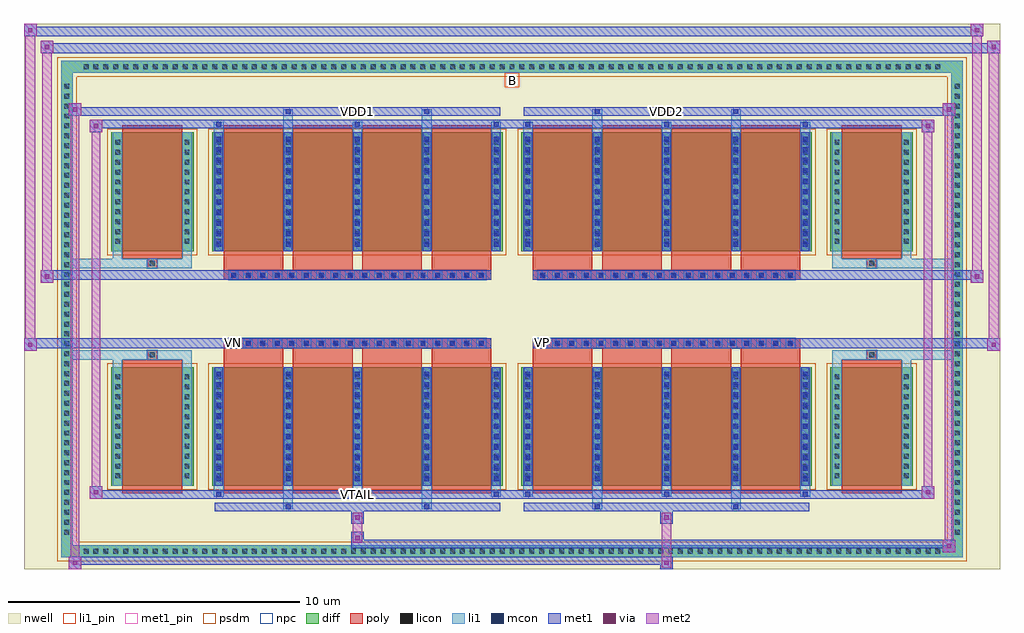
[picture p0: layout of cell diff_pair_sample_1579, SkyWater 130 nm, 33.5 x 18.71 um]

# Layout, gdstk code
import gdstk
lib = gdstk.Library(unit=1e-6, precision=5e-09)
def R(c, l, rs):  # rectangles x0, y0, x1, y1
    for r in rs: c.add(gdstk.rectangle(r[:2], r[2:], *l))
def A(c, l, x, y, w, h, nx, ny, dx, dy):  # array of equal rectangles
    R(c, l, [(x+i*dx, y+j*dy, x+i*dx+w, y+j*dy+h) for i in range(nx) for j in range(ny)])
def P(c, l, *ps):  # polygons
    for p in ps: c.add(gdstk.Polygon(p, *l))
nwell = (64, 20)
diff = (65, 20)
poly = (66, 20)
licon = (66, 44)
li1_pin = (67, 16)
li1 = (67, 20)
mcon = (67, 44)
met1_pin = (68, 16)
met1 = (68, 20)
via = (68, 44)
met2 = (69, 20)
psdm = (94, 20)
npc = (95, 20)

diff_pair_sample_1579 = lib.new_cell('diff_pair_sample_1579')
R(diff_pair_sample_1579, nwell, [(-16.75,-8.92,16.75,9.79), (-14.07,-7.11,-0.01,-0.805), (0.01,-7.11,14.07,-0.805), (-14.07,0.805,-0.01,7.11), (0.01,0.805,14.07,7.11)])
A(diff_pair_sample_1579, diff, -14.825, -8.52, 0.41, 0.41, 87, 2, 0.34, 16.63)
A(diff_pair_sample_1579, diff, -15.48, -7.855, 0.41, 0.41, 1, 46, 0, 0.34)
A(diff_pair_sample_1579, diff, 15.07, -7.855, 0.41, 0.41, 1, 46, 0, 0.34)
R(diff_pair_sample_1579, diff, [(-14.825,-8.52,14.825,-8.11), (-15.48,-7.855,-15.07,7.855), (15.07,-7.855,15.48,7.855), (-13.76,-6.065,-10.93,-1.985), (-10.29,-6.065,-0.32,-1.985), (0.32,-6.065,10.29,-1.985), (10.93,-6.065,13.76,-1.985), (-13.76,1.985,-10.93,6.065), (-10.29,1.985,-0.32,6.065), (0.32,1.985,10.29,6.065), (10.93,1.985,13.76,6.065), (-14.825,8.11,14.825,8.52)])
P(diff_pair_sample_1579, diff, [(15.48,8.52),(-15.48,8.52),(-15.48,-8.11),(-15.07,-8.11),(-15.07,8.11),(15.07,8.11),(15.07,-8.11),(-15.07,-8.11),(-15.48,-8.11),(-15.48,-8.52),(15.48,-8.52)])
A(diff_pair_sample_1579, poly, -9.9, -6.315, 2.05, 4.58, 4, 2, 2.38, 8.05)
A(diff_pair_sample_1579, poly, 0.71, -6.315, 2.05, 4.58, 4, 2, 2.38, 8.05)
A(diff_pair_sample_1579, poly, -9.9, -1.735, 2.05, 0.4, 4, 2, 2.38, 3.07)
A(diff_pair_sample_1579, poly, 0.71, -1.735, 2.05, 0.4, 4, 2, 2.38, 3.07)
A(diff_pair_sample_1579, poly, -9.72, -1.335, 0.33, 0.33, 18, 2, 0.5, 2.34)
A(diff_pair_sample_1579, poly, 0.89, -1.335, 0.33, 0.33, 18, 2, 0.5, 2.34)
R(diff_pair_sample_1579, poly, [(-13.37,-6.315,-11.32,-1.735), (11.32,-6.315,13.37,-1.735), (-12.51,-1.735,-12.18,-1.405), (-12.51,-1.735,-12.18,-1.405), (12.18,-1.735,12.51,-1.405), (12.18,-1.735,12.51,-1.405), (-9.9,-1.335,-0.71,-1.005), (0.71,-1.335,9.9,-1.005), (-9.9,1.005,-0.71,1.335), (0.71,1.005,9.9,1.335), (-12.51,1.405,-12.18,1.735), (-12.51,1.405,-12.18,1.735), (12.18,1.405,12.51,1.735), (12.18,1.405,12.51,1.735), (-13.37,1.735,-11.32,6.315), (11.32,1.735,13.37,6.315)])
A(diff_pair_sample_1579, licon, -14.705, -8.4, 0.17, 0.17, 87, 2, 0.34, 16.63)
A(diff_pair_sample_1579, licon, -15.36, -7.735, 0.17, 0.17, 1, 46, 0, 0.34)
A(diff_pair_sample_1579, licon, 15.19, -7.735, 0.17, 0.17, 1, 46, 0, 0.34)
A(diff_pair_sample_1579, licon, -13.62, -5.81, 0.17, 0.17, 1, 11, 0, 0.34)
A(diff_pair_sample_1579, licon, -11.24, -5.81, 0.17, 0.17, 1, 11, 0, 0.34)
A(diff_pair_sample_1579, licon, -10.15, -5.81, 0.17, 0.17, 5, 11, 2.38, 0.34)
A(diff_pair_sample_1579, licon, 0.46, -5.81, 0.17, 0.17, 5, 11, 2.38, 0.34)
A(diff_pair_sample_1579, licon, 11.07, -5.81, 0.17, 0.17, 1, 11, 0, 0.34)
A(diff_pair_sample_1579, licon, 13.45, -5.81, 0.17, 0.17, 1, 11, 0, 0.34)
A(diff_pair_sample_1579, licon, -9.64, -1.255, 0.17, 0.17, 18, 2, 0.5, 2.34)
A(diff_pair_sample_1579, licon, 0.97, -1.255, 0.17, 0.17, 18, 2, 0.5, 2.34)
A(diff_pair_sample_1579, licon, -13.62, 2.24, 0.17, 0.17, 1, 11, 0, 0.34)
A(diff_pair_sample_1579, licon, -11.24, 2.24, 0.17, 0.17, 1, 11, 0, 0.34)
A(diff_pair_sample_1579, licon, -10.15, 2.24, 0.17, 0.17, 5, 11, 2.38, 0.34)
A(diff_pair_sample_1579, licon, 0.46, 2.24, 0.17, 0.17, 5, 11, 2.38, 0.34)
A(diff_pair_sample_1579, licon, 11.07, 2.24, 0.17, 0.17, 1, 11, 0, 0.34)
A(diff_pair_sample_1579, licon, 13.45, 2.24, 0.17, 0.17, 1, 11, 0, 0.34)
R(diff_pair_sample_1579, licon, [(-12.43,-1.655,-12.26,-1.485), (12.26,-1.655,12.43,-1.485), (-12.43,1.485,-12.26,1.655), (12.26,1.485,12.43,1.655)])
R(diff_pair_sample_1579, li1_pin, [(-0.25,7.61,0.25,8.11)])
A(diff_pair_sample_1579, li1, -14.785, -8.48, 0.33, 0.33, 87, 2, 0.34, 16.63)
A(diff_pair_sample_1579, li1, -15.44, -7.815, 0.33, 0.33, 1, 46, 0, 0.34)
A(diff_pair_sample_1579, li1, 15.11, -7.815, 0.33, 0.33, 1, 46, 0, 0.34)
A(diff_pair_sample_1579, li1, -10.23, -6.44, 0.33, 0.375, 3, 2, 4.76, 12.505)
A(diff_pair_sample_1579, li1, -10.15, -6.44, 0.17, 0.17, 3, 2, 4.76, 12.71)
A(diff_pair_sample_1579, li1, 0.38, -6.44, 0.33, 0.375, 3, 2, 4.76, 12.505)
A(diff_pair_sample_1579, li1, 0.46, -6.44, 0.17, 0.17, 3, 2, 4.76, 12.71)
A(diff_pair_sample_1579, li1, -10.23, -6.065, 0.33, 4.08, 5, 2, 2.38, 8.05)
A(diff_pair_sample_1579, li1, 0.38, -6.065, 0.33, 4.08, 5, 2, 2.38, 8.05)
A(diff_pair_sample_1579, li1, -10.15, -5.91, 0.17, 0.17, 5, 11, 2.38, 0.36)
A(diff_pair_sample_1579, li1, -10.15, -5.91, 0.17, 3.77, 5, 2, 2.38, 8.05)
A(diff_pair_sample_1579, li1, 0.46, -5.91, 0.17, 0.17, 5, 11, 2.38, 0.36)
A(diff_pair_sample_1579, li1, 0.46, -5.91, 0.17, 3.77, 5, 2, 2.38, 8.05)
A(diff_pair_sample_1579, li1, -13.7, -5.89, 0.33, 0.33, 1, 11, 0, 0.34)
A(diff_pair_sample_1579, li1, -11.32, -5.89, 0.33, 0.33, 1, 11, 0, 0.34)
A(diff_pair_sample_1579, li1, -10.23, -5.89, 0.33, 0.33, 5, 11, 2.38, 0.34)
A(diff_pair_sample_1579, li1, 0.38, -5.89, 0.33, 0.33, 5, 11, 2.38, 0.34)
A(diff_pair_sample_1579, li1, 10.99, -5.89, 0.33, 0.33, 1, 11, 0, 0.34)
A(diff_pair_sample_1579, li1, 13.37, -5.89, 0.33, 0.33, 1, 11, 0, 0.34)
A(diff_pair_sample_1579, li1, -9.72, -1.335, 0.33, 0.33, 18, 2, 0.5, 2.34)
A(diff_pair_sample_1579, li1, 0.89, -1.335, 0.33, 0.33, 18, 2, 0.5, 2.34)
A(diff_pair_sample_1579, li1, -10.15, 2.14, 0.17, 0.17, 5, 11, 2.38, 0.36)
A(diff_pair_sample_1579, li1, 0.46, 2.14, 0.17, 0.17, 5, 11, 2.38, 0.36)
A(diff_pair_sample_1579, li1, -13.7, 2.16, 0.33, 0.33, 1, 11, 0, 0.34)
A(diff_pair_sample_1579, li1, -11.32, 2.16, 0.33, 0.33, 1, 11, 0, 0.34)
A(diff_pair_sample_1579, li1, -10.23, 2.16, 0.33, 0.33, 5, 11, 2.38, 0.34)
A(diff_pair_sample_1579, li1, 0.38, 2.16, 0.33, 0.33, 5, 11, 2.38, 0.34)
A(diff_pair_sample_1579, li1, 10.99, 2.16, 0.33, 0.33, 1, 11, 0, 0.34)
A(diff_pair_sample_1579, li1, 13.37, 2.16, 0.33, 0.33, 1, 11, 0, 0.34)
R(diff_pair_sample_1579, li1, [(-15.48,-8.52,-15.07,-8.11), (-15.48,-8.52,-15.07,-8.11), (-15.07,-8.52,15.07,-8.11), (15.07,-8.52,15.48,-8.11), (15.07,-8.52,15.48,-8.11), (-15.48,-8.11,-15.07,8.11), (15.07,-8.11,15.48,8.11), (-7.85,-6.87,-7.52,-6.065), (-7.77,-6.87,-7.6,-6.7), (-3.09,-6.87,-2.76,-6.065), (-3.01,-6.87,-2.84,-6.7), (2.76,-6.87,3.09,-6.065), (2.84,-6.87,3.01,-6.7), (7.52,-6.87,7.85,-6.065), (7.6,-6.87,7.77,-6.7), (-13.7,-6.065,-13.37,-1.985), (-11.32,-6.065,-10.99,-1.985), (10.99,-6.065,11.32,-1.985), (13.37,-6.065,13.7,-1.985), (-13.7,-1.985,-13.37,-1.405), (-11.32,-1.985,-10.99,-1.405), (10.99,-1.985,11.32,-1.405), (13.37,-1.985,13.7,-1.405), (-15.48,-1.735,-12.51,-1.405), (-13.7,-1.735,-12.51,-1.405), (-12.51,-1.735,-12.18,-1.405), (-12.18,-1.735,-10.99,-1.405), (10.99,-1.735,12.18,-1.405), (12.18,-1.735,12.51,-1.405), (12.18,-1.735,15.48,-1.405), (12.51,-1.735,13.7,-1.405), (-15.48,1.405,-12.51,1.735), (-13.7,1.405,-12.51,1.735), (-13.7,1.405,-13.37,1.985), (-12.51,1.405,-12.18,1.735), (-12.18,1.405,-10.99,1.735), (-11.32,1.405,-10.99,1.985), (10.99,1.405,12.18,1.735), (10.99,1.405,11.32,1.985), (12.18,1.405,12.51,1.735), (12.18,1.405,15.48,1.735), (12.51,1.405,13.7,1.735), (13.37,1.405,13.7,1.985), (-13.7,1.985,-13.37,6.065), (-11.32,1.985,-10.99,6.065), (10.99,1.985,11.32,6.065), (13.37,1.985,13.7,6.065), (-7.85,6.065,-7.52,6.87), (-3.09,6.065,-2.76,6.87), (2.76,6.065,3.09,6.87), (7.52,6.065,7.85,6.87), (-7.77,6.7,-7.6,6.87), (-3.01,6.7,-2.84,6.87), (2.84,6.7,3.01,6.87), (7.6,6.7,7.77,6.87), (-15.48,8.11,-15.07,8.52), (-15.48,8.11,-15.07,8.52), (-15.07,8.11,15.07,8.52), (15.07,8.11,15.48,8.52), (15.07,8.11,15.48,8.52)])
A(diff_pair_sample_1579, mcon, -10.15, -6.44, 0.17, 0.17, 3, 2, 4.76, 12.71)
A(diff_pair_sample_1579, mcon, 0.46, -6.44, 0.17, 0.17, 3, 2, 4.76, 12.71)
A(diff_pair_sample_1579, mcon, -10.15, -5.91, 0.17, 0.17, 5, 11, 2.38, 0.36)
A(diff_pair_sample_1579, mcon, 0.46, -5.91, 0.17, 0.17, 5, 11, 2.38, 0.36)
A(diff_pair_sample_1579, mcon, -9.64, -1.255, 0.17, 0.17, 18, 2, 0.5, 2.34)
A(diff_pair_sample_1579, mcon, 0.97, -1.255, 0.17, 0.17, 18, 2, 0.5, 2.34)
A(diff_pair_sample_1579, mcon, -10.15, 2.14, 0.17, 0.17, 5, 11, 2.38, 0.36)
A(diff_pair_sample_1579, mcon, 0.46, 2.14, 0.17, 0.17, 5, 11, 2.38, 0.36)
R(diff_pair_sample_1579, mcon, [(-7.77,-6.87,-7.6,-6.7), (-3.01,-6.87,-2.84,-6.7), (2.84,-6.87,3.01,-6.7), (7.6,-6.87,7.77,-6.7), (-7.77,6.7,-7.6,6.87), (-3.01,6.7,-2.84,6.87), (2.84,6.7,3.01,6.87), (7.6,6.7,7.77,6.87)])
R(diff_pair_sample_1579, met1_pin, [(-5.44,-6.48,-5.17,-6.21), (-9.69,-1.295,-9.42,-1.025), (0.92,-1.295,1.19,-1.025), (-5.44,6.66,-5.17,6.93), (5.17,6.66,5.44,6.93)])
A(diff_pair_sample_1579, met1, -10.21, -6.5, 0.29, 0.29, 3, 2, 4.76, 12.71)
A(diff_pair_sample_1579, met1, 0.4, -6.5, 0.29, 0.29, 3, 2, 4.76, 12.71)
A(diff_pair_sample_1579, met1, -10.21, -6.065, 0.29, 4.08, 5, 2, 2.38, 8.05)
A(diff_pair_sample_1579, met1, 0.4, -6.065, 0.29, 4.08, 5, 2, 2.38, 8.05)
A(diff_pair_sample_1579, met1, -10.21, -5.97, 0.29, 0.29, 5, 11, 2.38, 0.36)
A(diff_pair_sample_1579, met1, 0.4, -5.97, 0.29, 0.29, 5, 11, 2.38, 0.36)
A(diff_pair_sample_1579, met1, -9.7, -1.315, 0.29, 0.29, 18, 2, 0.5, 2.34)
A(diff_pair_sample_1579, met1, 0.91, -1.315, 0.29, 0.29, 18, 2, 0.5, 2.34)
A(diff_pair_sample_1579, met1, -10.21, 2.08, 0.29, 0.29, 5, 11, 2.38, 0.36)
A(diff_pair_sample_1579, met1, 0.4, 2.08, 0.29, 0.29, 5, 11, 2.38, 0.36)
R(diff_pair_sample_1579, met1, [(-15.21,-8.92,-14.78,-8.49), (5.09,-8.92,5.52,-8.49), (-15.21,-8.78,5.52,-8.49), (14.78,-8.35,15.21,-7.92), (-5.52,-8.21,15.21,-7.92), (-5.52,-8.07,-5.09,-7.64), (-5.52,-7.36,-5.09,-6.93), (5.09,-7.36,5.52,-6.93), (-10.21,-6.93,-0.4,-6.64), (-7.83,-6.93,-7.54,-6.64), (-3.07,-6.93,-2.78,-6.64), (0.4,-6.93,10.21,-6.64), (2.78,-6.93,3.07,-6.64), (7.54,-6.93,7.83,-6.64), (-14.5,-6.5,-14.07,-6.07), (-14.5,-6.5,-10.21,-6.21), (-10.21,-6.5,-0.4,-6.21), (-0.4,-6.5,0.4,-6.21), (0.4,-6.5,10.21,-6.21), (10.21,-6.5,14.5,-6.21), (14.07,-6.5,14.5,-6.07), (-16.75,-1.435,-16.32,-1.005), (16.32,-1.435,16.75,-1.005), (-16.75,-1.335,-0.71,-1.005), (-9.9,-1.335,-0.71,-1.005), (0.71,-1.335,9.9,-1.005), (0.71,-1.335,16.75,-1.005), (-16.18,0.905,-15.75,1.335), (15.75,0.905,16.18,1.335), (-16.18,1.005,-9.9,1.335), (-9.9,1.005,-0.71,1.335), (0.71,1.005,9.9,1.335), (9.9,1.005,16.18,1.335), (-14.5,6.07,-14.07,6.5), (14.07,6.07,14.5,6.5), (-14.5,6.21,-10.21,6.5), (-10.21,6.21,-0.4,6.5), (-0.4,6.21,0.4,6.5), (0.4,6.21,10.21,6.5), (10.21,6.21,14.5,6.5), (-15.21,6.64,-14.78,7.07), (-15.21,6.64,-10.21,6.93), (-10.21,6.64,-0.4,6.93), (-7.83,6.64,-7.54,6.93), (-3.07,6.64,-2.78,6.93), (0.4,6.64,10.21,6.93), (2.78,6.64,3.07,6.93), (7.54,6.64,7.83,6.93), (10.21,6.64,15.21,6.93), (14.78,6.64,15.21,7.07), (-16.18,8.79,-15.75,9.22), (-16.18,8.79,-14.07,9.12), (-14.07,8.79,14.07,9.12), (14.07,8.79,16.75,9.12), (16.32,8.79,16.75,9.22), (-16.75,9.36,-16.32,9.79), (-16.75,9.36,-14.07,9.69), (-14.07,9.36,14.07,9.69), (14.07,9.36,16.18,9.69), (15.75,9.36,16.18,9.79)])
R(diff_pair_sample_1579, via, [(-15.07,-8.78,-14.92,-8.63), (5.23,-8.78,5.38,-8.63), (14.92,-8.21,15.07,-8.06), (-5.38,-7.93,-5.23,-7.78), (-5.38,-7.22,-5.23,-7.07), (5.23,-7.22,5.38,-7.07), (-14.36,-6.36,-14.21,-6.21), (14.21,-6.36,14.36,-6.21), (-16.61,-1.295,-16.46,-1.145), (16.46,-1.295,16.61,-1.145), (-16.04,1.045,-15.89,1.195), (15.89,1.045,16.04,1.195), (-14.36,6.21,-14.21,6.36), (14.21,6.21,14.36,6.36), (-15.07,6.78,-14.92,6.93), (14.92,6.78,15.07,6.93), (-16.04,8.93,-15.89,9.08), (16.46,8.93,16.61,9.08), (-16.61,9.5,-16.46,9.65), (15.89,9.5,16.04,9.65)])
R(diff_pair_sample_1579, met2, [(-15.21,-8.92,-14.78,-8.49), (-15.14,-8.92,-14.85,7.07), (-14.85,-8.92,-14.78,-8.49), (-15.16,-8.87,-14.83,-8.54), (5.14,-8.87,5.47,-8.54), (5.14,-8.54,5.47,-7.31), (14.78,-8.35,15.21,-7.92), (14.85,-8.35,15.14,7.07), (15.14,-8.35,15.21,-7.92), (14.83,-8.3,15.16,-7.97), (-5.47,-8.02,-5.14,-7.69), (-5.47,-7.69,-5.14,-7.31), (-5.47,-7.31,-5.14,-6.98), (5.14,-7.31,5.47,-6.98), (-14.5,-6.5,-14.07,-6.07), (-14.43,-6.5,-14.14,6.5), (-14.14,-6.5,-14.07,-6.07), (14.07,-6.5,14.5,-6.07), (14.14,-6.5,14.43,6.5), (14.43,-6.5,14.5,-6.07), (-14.45,-6.45,-14.12,-6.12), (14.12,-6.45,14.45,-6.12), (-16.75,-1.435,-16.32,-1.005), (-16.7,-1.435,-16.37,9.79), (-16.37,-1.435,-16.32,-1.005), (16.32,-1.435,16.75,-1.005), (16.37,-1.435,16.7,9.22), (16.7,-1.435,16.75,-1.005), (-16.7,-1.385,-16.37,-1.055), (16.37,-1.385,16.7,-1.055), (-16.18,0.905,-15.75,1.335), (-16.13,0.905,-15.8,9.22), (-15.8,0.905,-15.75,1.335), (15.75,0.905,16.18,1.335), (15.8,0.905,16.13,9.79), (16.13,0.905,16.18,1.335), (-16.13,0.955,-15.8,1.285), (15.8,0.955,16.13,1.285), (-14.5,6.07,-14.07,6.5), (-14.14,6.07,-14.07,6.5), (14.07,6.07,14.5,6.5), (14.43,6.07,14.5,6.5), (-14.45,6.12,-14.12,6.45), (14.12,6.12,14.45,6.45), (-15.21,6.64,-14.78,7.07), (-14.85,6.64,-14.78,7.07), (14.78,6.64,15.21,7.07), (15.14,6.64,15.21,7.07), (-15.16,6.69,-14.83,7.02), (14.83,6.69,15.16,7.02), (-16.18,8.79,-15.75,9.22), (-15.8,8.79,-15.75,9.22), (16.32,8.79,16.75,9.22), (16.7,8.79,16.75,9.22), (-16.13,8.84,-15.8,9.17), (16.37,8.84,16.7,9.17), (-16.75,9.36,-16.32,9.79), (-16.37,9.36,-16.32,9.79), (15.75,9.36,16.18,9.79), (16.13,9.36,16.18,9.79), (-16.7,9.41,-16.37,9.74), (15.8,9.41,16.13,9.74)])
R(diff_pair_sample_1579, psdm, [(-13.89,-6.195,-10.8,-1.855), (-10.42,-6.195,-0.19,-1.855), (0.19,-6.195,10.42,-1.855), (10.8,-6.195,13.89,-1.855), (-13.89,1.855,-10.8,6.195), (-10.42,1.855,-0.19,6.195), (0.19,1.855,10.42,6.195), (10.8,1.855,13.89,6.195)])
P(diff_pair_sample_1579, psdm, [(15.61,8.65),(-15.61,8.65),(-15.61,-7.98),(-14.94,-7.98),(-14.94,7.98),(14.94,7.98),(14.94,-7.98),(-14.94,-7.98),(-15.61,-7.98),(-15.61,-8.65),(15.61,-8.65)])
A(diff_pair_sample_1579, npc, -9.74, -1.355, 0.37, 0.37, 18, 2, 0.5, 2.34)
A(diff_pair_sample_1579, npc, 0.87, -1.355, 0.37, 0.37, 18, 2, 0.5, 2.34)
R(diff_pair_sample_1579, npc, [(-12.53,-1.755,-12.16,-1.385), (12.16,-1.755,12.53,-1.385), (-9.74,-1.355,-8.87,-0.985), (-9.74,-1.355,-8.87,-0.985), (-9.24,-1.355,-8.37,-0.985), (-9.24,-1.355,-8.37,-0.985), (-8.74,-1.355,-7.87,-0.985), (-8.74,-1.355,-7.87,-0.985), (-8.24,-1.355,-7.37,-0.985), (-8.24,-1.355,-7.37,-0.985), (-7.74,-1.355,-6.87,-0.985), (-7.74,-1.355,-6.87,-0.985), (-7.24,-1.355,-6.37,-0.985), (-7.24,-1.355,-6.37,-0.985), (-6.74,-1.355,-5.87,-0.985), (-6.74,-1.355,-5.87,-0.985), (-6.24,-1.355,-5.37,-0.985), (-6.24,-1.355,-5.37,-0.985), (-5.74,-1.355,-4.87,-0.985), (-5.74,-1.355,-4.87,-0.985), (-5.24,-1.355,-4.37,-0.985), (-5.24,-1.355,-4.37,-0.985), (-4.74,-1.355,-3.87,-0.985), (-4.74,-1.355,-3.87,-0.985), (-4.24,-1.355,-3.37,-0.985), (-4.24,-1.355,-3.37,-0.985), (-3.74,-1.355,-2.87,-0.985), (-3.74,-1.355,-2.87,-0.985), (-3.24,-1.355,-2.37,-0.985), (-3.24,-1.355,-2.37,-0.985), (-2.74,-1.355,-1.87,-0.985), (-2.74,-1.355,-1.87,-0.985), (-2.24,-1.355,-1.37,-0.985), (-2.24,-1.355,-1.37,-0.985), (-1.74,-1.355,-0.87,-0.985), (-1.74,-1.355,-0.87,-0.985), (0.87,-1.355,1.74,-0.985), (0.87,-1.355,1.74,-0.985), (1.37,-1.355,2.24,-0.985), (1.37,-1.355,2.24,-0.985), (1.87,-1.355,2.74,-0.985), (1.87,-1.355,2.74,-0.985), (2.37,-1.355,3.24,-0.985), (2.37,-1.355,3.24,-0.985), (2.87,-1.355,3.74,-0.985), (2.87,-1.355,3.74,-0.985), (3.37,-1.355,4.24,-0.985), (3.37,-1.355,4.24,-0.985), (3.87,-1.355,4.74,-0.985), (3.87,-1.355,4.74,-0.985), (4.37,-1.355,5.24,-0.985), (4.37,-1.355,5.24,-0.985), (4.87,-1.355,5.74,-0.985), (4.87,-1.355,5.74,-0.985), (5.37,-1.355,6.24,-0.985), (5.37,-1.355,6.24,-0.985), (5.87,-1.355,6.74,-0.985), (5.87,-1.355,6.74,-0.985), (6.37,-1.355,7.24,-0.985), (6.37,-1.355,7.24,-0.985), (6.87,-1.355,7.74,-0.985), (6.87,-1.355,7.74,-0.985), (7.37,-1.355,8.24,-0.985), (7.37,-1.355,8.24,-0.985), (7.87,-1.355,8.74,-0.985), (7.87,-1.355,8.74,-0.985), (8.37,-1.355,9.24,-0.985), (8.37,-1.355,9.24,-0.985), (8.87,-1.355,9.74,-0.985), (8.87,-1.355,9.74,-0.985), (-9.74,0.985,-8.87,1.355), (-9.74,0.985,-8.87,1.355), (-9.24,0.985,-8.37,1.355), (-9.24,0.985,-8.37,1.355), (-8.74,0.985,-7.87,1.355), (-8.74,0.985,-7.87,1.355), (-8.24,0.985,-7.37,1.355), (-8.24,0.985,-7.37,1.355), (-7.74,0.985,-6.87,1.355), (-7.74,0.985,-6.87,1.355), (-7.24,0.985,-6.37,1.355), (-7.24,0.985,-6.37,1.355), (-6.74,0.985,-5.87,1.355), (-6.74,0.985,-5.87,1.355), (-6.24,0.985,-5.37,1.355), (-6.24,0.985,-5.37,1.355), (-5.74,0.985,-4.87,1.355), (-5.74,0.985,-4.87,1.355), (-5.24,0.985,-4.37,1.355), (-5.24,0.985,-4.37,1.355), (-4.74,0.985,-3.87,1.355), (-4.74,0.985,-3.87,1.355), (-4.24,0.985,-3.37,1.355), (-4.24,0.985,-3.37,1.355), (-3.74,0.985,-2.87,1.355), (-3.74,0.985,-2.87,1.355), (-3.24,0.985,-2.37,1.355), (-3.24,0.985,-2.37,1.355), (-2.74,0.985,-1.87,1.355), (-2.74,0.985,-1.87,1.355), (-2.24,0.985,-1.37,1.355), (-2.24,0.985,-1.37,1.355), (-1.74,0.985,-0.87,1.355), (-1.74,0.985,-0.87,1.355), (0.87,0.985,1.74,1.355), (0.87,0.985,1.74,1.355), (1.37,0.985,2.24,1.355), (1.37,0.985,2.24,1.355), (1.87,0.985,2.74,1.355), (1.87,0.985,2.74,1.355), (2.37,0.985,3.24,1.355), (2.37,0.985,3.24,1.355), (2.87,0.985,3.74,1.355), (2.87,0.985,3.74,1.355), (3.37,0.985,4.24,1.355), (3.37,0.985,4.24,1.355), (3.87,0.985,4.74,1.355), (3.87,0.985,4.74,1.355), (4.37,0.985,5.24,1.355), (4.37,0.985,5.24,1.355), (4.87,0.985,5.74,1.355), (4.87,0.985,5.74,1.355), (5.37,0.985,6.24,1.355), (5.37,0.985,6.24,1.355), (5.87,0.985,6.74,1.355), (5.87,0.985,6.74,1.355), (6.37,0.985,7.24,1.355), (6.37,0.985,7.24,1.355), (6.87,0.985,7.74,1.355), (6.87,0.985,7.74,1.355), (7.37,0.985,8.24,1.355), (7.37,0.985,8.24,1.355), (7.87,0.985,8.74,1.355), (7.87,0.985,8.74,1.355), (8.37,0.985,9.24,1.355), (8.37,0.985,9.24,1.355), (8.87,0.985,9.74,1.355), (8.87,0.985,9.74,1.355), (-12.53,1.385,-12.16,1.755), (12.16,1.385,12.53,1.755)])
diff_pair_sample_1579.add(gdstk.Label('VTAIL', (-5.305,-6.345), layer=68, texttype=5))
diff_pair_sample_1579.add(gdstk.Label('VN', (-9.555,-1.16), layer=68, texttype=5))
diff_pair_sample_1579.add(gdstk.Label('VP', (1.055,-1.16), layer=68, texttype=5))
diff_pair_sample_1579.add(gdstk.Label('B', (0,7.86), layer=67, texttype=5))
diff_pair_sample_1579.add(gdstk.Label('VDD2', (5.305,6.795), layer=68, texttype=5))
diff_pair_sample_1579.add(gdstk.Label('VDD1', (-5.305,6.795), layer=68, texttype=5))

lib.write_gds('diff_pair_sample_1579.gds')
